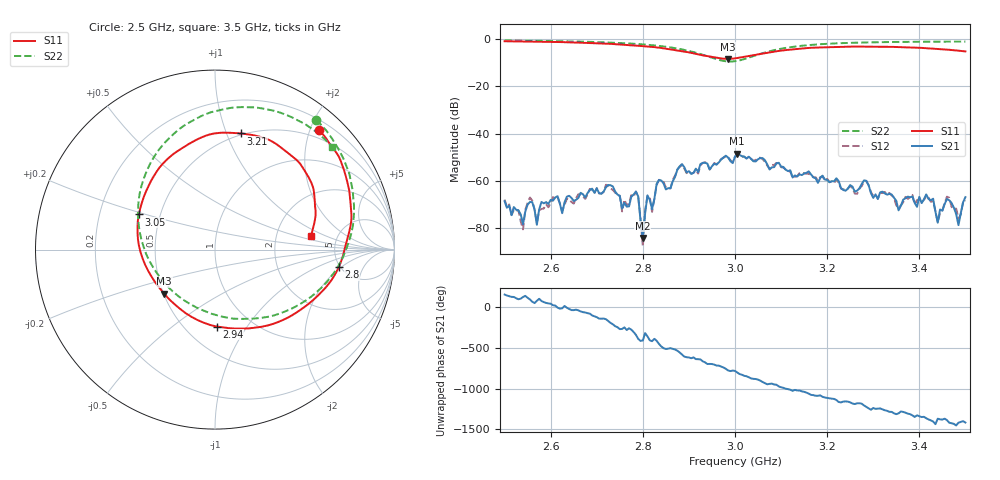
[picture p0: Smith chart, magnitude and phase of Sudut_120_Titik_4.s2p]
# Hz S RI R 50
! CMT, C1220, 16058040, 17.2.0/1
! Date: 15/08/2018 10:32:51
! Data: Format (Calibration Info)
! Freq  S11: Re/Im (F2)  S21: Re/Im (F2)  S12: Re/Im (F2)  S22: Re/Im (F2)
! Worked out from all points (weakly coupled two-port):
!   201 points, 2.5 GHz to 3.5 GHz, reference 50 ohm
!   highest |S21| = -48.47 dB at 3.005 GHz (marker M1); lowest = -84.0 dB at 2.8 GHz (marker M2)
!   lowest |S11| = -8.5 dB at 2.985 GHz (marker M3), VSWR 2.20, Z = 25.2 - j14.4 ohm
!   |S11| at or under -10 dB: nowhere
!   |S22| runs from -9.6 to -0.8 dB; largest |S21 - S12| = 0.00024
!   S11 on the Smith chart (normalised r, x): 2.5 GHz: 0.36, +2.15; 2.8 GHz: 4.87, -1.84; 2.94 GHz: 0.70, -0.74; 3.05 GHz: 0.38, +0.19; 3.21 GHz: 0.49, +1.12; 3.5 GHz: 3.17, +0.69
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2.5e9  0.5802 0.6652  -0.000331 0.000175  -0.000358 0.000189  0.5651 0.7221
2.54e9  0.6293 0.6039  -6.67e-05 0.000106  -1.87e-05 9.42e-05  0.6104 0.6738
2.555e9  0.6443 0.581  -1.29e-05 0.000362  -7.18e-05 0.000443  0.6267 0.6547
2.57e9  0.6645 0.5557  3.08e-05 0.000116  9.86e-05 8.85e-05  0.6422 0.6325
2.58e9  0.677 0.5387  0.000107 0.000346  8.53e-05 0.000243  0.6529 0.6172
2.67e9  0.7461 0.3377  0.000234 -0.000472  0.000134 -0.000454  0.7373 0.4525
2.785e9  0.7131 -0.0332  0.000568 0.000183  0.000589 0.000121  0.7668 0.1248
2.8e9  0.6897 -0.0973  4.02e-05 -4.82e-05  2.38e-05 -3.51e-05  0.7543 0.0715
2.835e9  0.6072 -0.2217  -6.51e-05 -0.00104  -2.11e-05 -0.00106  0.7009 -0.0654
2.94e9  0.00904 -0.4286  0.00218 0.000812  0.00215 0.000847  0.1787 -0.3857
2.985e9  -0.2831 -0.246  0.00165 -0.00267  0.00183 -0.00264  -0.1685 -0.2851
3e9  -0.3538 -0.1506  0.00141 -0.00293  0.00133 -0.003  -0.2678 -0.2012
3.005e9  -0.3733 -0.1167  0.000378 -0.00375  0.0002 -0.00367  -0.2961 -0.1677
3.05e9  -0.4245 0.1957  -0.00284 -0.000461  -0.00306 -0.000354  -0.428 0.1737
3.17e9  -0.0101 0.6458  0.00119 -2.17e-05  0.0012 8.5e-05  -0.0784 0.7431
3.21e9  0.1431 0.6469  0.00071 -0.000694  0.000669 -0.000689  0.0682 0.786
3.335e9  0.4702 0.4836  -0.000484 0.00023  -0.000504 0.000249  0.4032 0.7482
3.415e9  0.554 0.2976  0.000129 0.000506  0.000128 0.000454  0.5431 0.6712
3.44e9  0.5588 0.2285  4.56e-05 0.000124  4.57e-05 0.000128  0.579 0.6426
3.46e9  0.5592 0.1804  0.000257 0.000329  0.000343 0.000319  0.6052 0.6212
3.485e9  0.5459 0.1169  0.00011 4.18e-05  0.000151 5.77e-05  0.6345 0.5912
3.5e9  0.5336 0.0771  0.000422 0.000178  0.000381 9.33e-05  0.6515 0.5742
